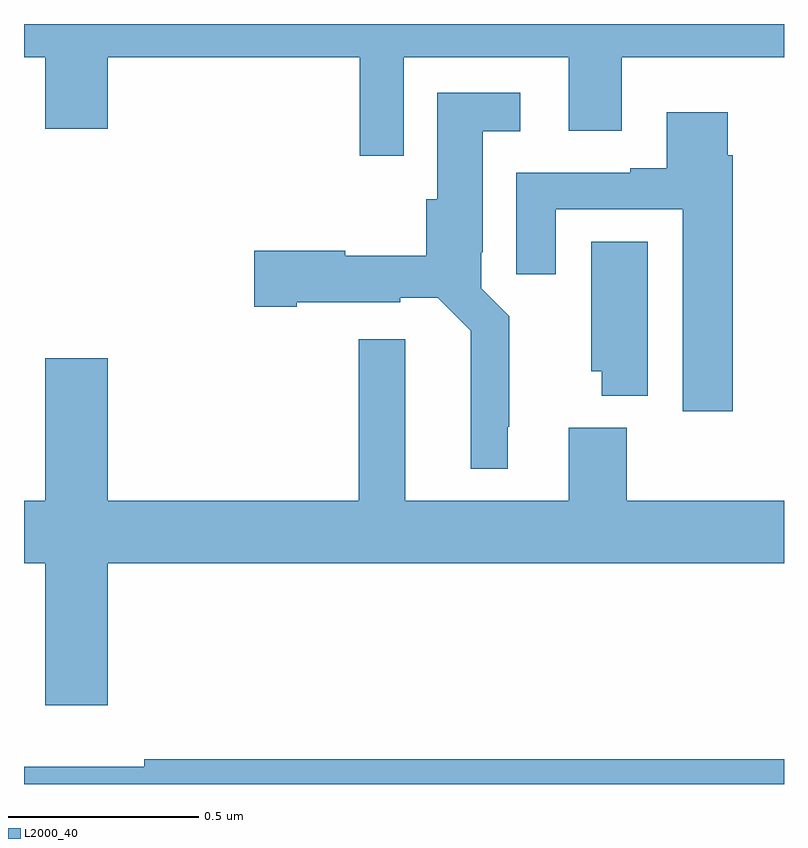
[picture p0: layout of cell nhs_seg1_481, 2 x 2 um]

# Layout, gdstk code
import gdstk
lib = gdstk.Library(unit=1e-6, precision=1e-09)
def P(c, l, *ps):  # polygons
    for p in ps: c.add(gdstk.Polygon(p, *l))
L2000_40 = (2000, 40)

nhs_seg1_481 = lib.new_cell('nhs_seg1_481')
P(nhs_seg1_481, L2000_40, [(117.999,505.112),(118.433,505.112),(118.433,504.918),(118.573,504.918),(118.573,505.112),(119,505.112),(119,505.199),(117,505.199),(117,505.112),(117.056,505.112),(117.056,504.924),(117.22,504.924),(117.22,505.112),(117.883,505.112),(117.883,504.852),(117.999,504.852)],
  [(118.273,504.139),(118.277,504.139),(118.277,504.43),(118.203,504.504),(118.203,504.598),(118.207,504.598),(118.207,504.917),(118.306,504.917),(118.306,505.018),(118.088,505.018),(118.088,504.738),(118.058,504.738),(118.058,504.589),(117.846,504.589),(117.846,504.602),(117.606,504.602),(117.606,504.455),(117.718,504.455),(117.718,504.467),(117.99,504.467),(117.99,504.479),(118.089,504.479),(118.176,504.392),(118.176,504.29),(118.175,504.29),(118.175,504.029),(118.273,504.029)],
  [(118.865,504.854),(118.852,504.854),(118.852,504.967),(118.691,504.967),(118.691,504.82),(118.595,504.82),(118.595,504.807),(118.295,504.807),(118.295,504.54),(118.399,504.54),(118.399,504.711),(118.733,504.711),(118.733,504.18),(118.865,504.18)],
  [(118.642,504.626),(118.493,504.626),(118.493,504.285),(118.52,504.285),(118.52,504.221),(118.642,504.221)],
  [(117.22,503.78),(119,503.78),(119,503.944),(118.586,503.944),(118.586,504.136),(118.433,504.136),(118.433,503.944),(118.003,503.944),(118.003,504.37),(117.881,504.37),(117.881,503.944),(117.22,503.944),(117.22,504.319),(117.056,504.319),(117.056,503.944),(117,503.944),(117,503.78),(117.056,503.78),(117.056,503.406),(117.22,503.406)],
  [(119,503.264),(117.316,503.264),(117.316,503.245),(117,503.245),(117,503.199),(119,503.199)])

lib.write_gds('nhs_seg1_481.gds')
